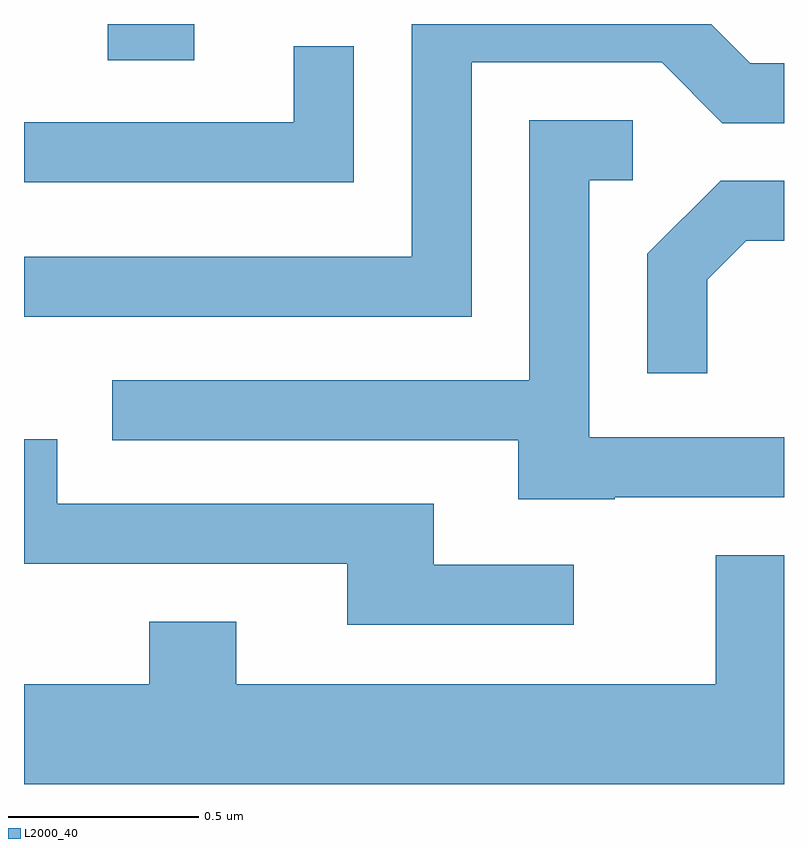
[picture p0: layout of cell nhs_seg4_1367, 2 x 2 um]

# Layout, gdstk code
import gdstk
lib = gdstk.Library(unit=1e-6, precision=1e-09)
def R(c, l, rs):  # rectangles x0, y0, x1, y1
    for r in rs: c.add(gdstk.rectangle(r[:2], r[2:], *l))
def P(c, l, *ps):  # polygons
    for p in ps: c.add(gdstk.Polygon(p, *l))
L2000_40 = (2000, 40)

nhs_seg4_1367 = lib.new_cell('nhs_seg4_1367')
R(nhs_seg4_1367, L2000_40, [(194.831,1389.886,195.059,1389.982)])
P(nhs_seg4_1367, L2000_40, [(195.789,1389.881),(196.289,1389.881),(196.449,1389.721),(196.611,1389.721),(196.611,1389.879),(196.522,1389.879),(196.419,1389.982),(195.631,1389.982),(195.631,1389.369),(194.611,1389.369),(194.611,1389.211),(195.789,1389.211)],
  [(195.479,1389.923),(195.321,1389.923),(195.321,1389.724),(194.611,1389.724),(194.611,1389.566),(195.479,1389.566)],
  [(196.165,1388.736),(196.611,1388.736),(196.611,1388.894),(196.099,1388.894),(196.099,1389.571),(196.213,1389.571),(196.213,1389.729),(195.941,1389.729),(195.941,1389.044),(194.843,1389.044),(194.843,1388.886),(195.911,1388.886),(195.911,1388.731),(196.165,1388.731)],
  [(196.409,1389.309),(196.512,1389.411),(196.611,1389.411),(196.611,1389.569),(196.444,1389.569),(196.251,1389.377),(196.251,1389.063),(196.409,1389.063)],
  [(196.058,1388.559),(195.689,1388.559),(195.689,1388.719),(194.699,1388.719),(194.699,1388.889),(194.611,1388.889),(194.611,1388.561),(195.461,1388.561),(195.461,1388.401),(196.058,1388.401)],
  [(196.611,1388.584),(196.431,1388.584),(196.431,1388.244),(195.169,1388.244),(195.169,1388.409),(194.941,1388.409),(194.941,1388.244),(194.611,1388.244),(194.611,1387.982),(196.611,1387.982)])

lib.write_gds('nhs_seg4_1367.gds')
